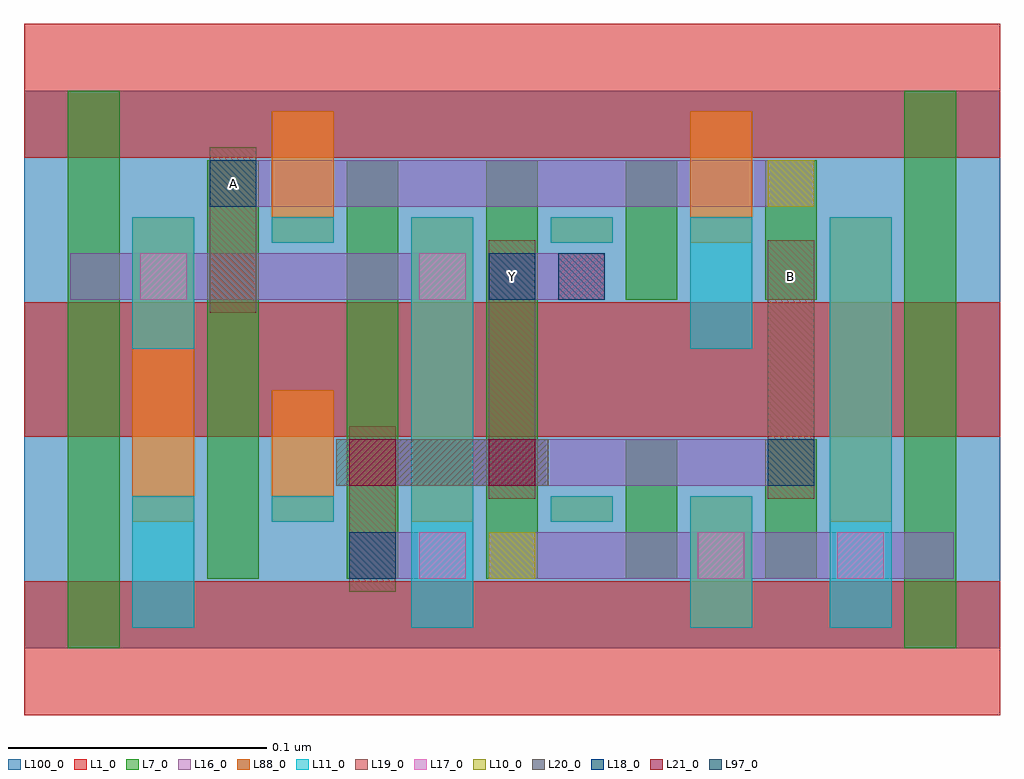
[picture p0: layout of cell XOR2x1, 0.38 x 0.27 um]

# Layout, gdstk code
import gdstk
lib = gdstk.Library(unit=1e-6, precision=2.5e-10)
def R(c, l, rs):  # rectangles x0, y0, x1, y1
    for r in rs: c.add(gdstk.rectangle(r[:2], r[2:], *l))
def A(c, l, x, y, w, h, nx, ny, dx, dy):  # array of equal rectangles
    R(c, l, [(x+i*dx, y+j*dy, x+i*dx+w, y+j*dy+h) for i in range(nx) for j in range(ny)])
L1_0 = (1, 0)
L7_0 = (7, 0)
L10_0 = (10, 0)
L11_0 = (11, 0)
L16_0 = (16, 0)
L17_0 = (17, 0)
L18_0 = (18, 0)
L19_0 = (19, 0)
L20_0 = (20, 0)
L21_0 = (21, 0)
L88_0 = (88, 0)
L97_0 = (97, 0)
L100_0 = (100, 0)

xor2x1 = lib.new_cell('XOR2x1')
A(xor2x1, L1_0, 0, -0.026, 0.378, 0.052, 1, 3, 0, 0.108)
A(xor2x1, L7_0, 0.071, 0.027, 0.02, 0.081, 3, 2, 0.054, 0.081)
R(xor2x1, L7_0, [(0.017,0,0.037,0.108), (0.341,0,0.361,0.108), (0.233,0.027,0.253,0.081), (0.287,0.027,0.307,0.081), (0.017,0.108,0.037,0.216), (0.341,0.108,0.361,0.216), (0.233,0.135,0.253,0.189), (0.287,0.135,0.307,0.189)])
R(xor2x1, L10_0, [(0.18,0.027,0.198,0.045), (0.126,0.063,0.144,0.081), (0.288,0.063,0.306,0.081), (0.072,0.171,0.09,0.189), (0.288,0.171,0.306,0.189)])
R(xor2x1, L11_0, [(0.042,0.008,0.066,0.059), (0.15,0.008,0.174,0.108), (0.258,0.008,0.282,0.059), (0.312,0.008,0.336,0.108), (0.096,0.049,0.12,0.059), (0.204,0.049,0.228,0.059), (0.15,0.108,0.174,0.167), (0.312,0.108,0.336,0.167), (0.042,0.116,0.066,0.167), (0.258,0.116,0.282,0.167), (0.096,0.157,0.12,0.167), (0.204,0.157,0.228,0.167)])
R(xor2x1, L16_0, [(0.126,0.027,0.171,0.045), (0.18,0.027,0.36,0.045), (0.126,0.063,0.306,0.081), (0.018,0.135,0.171,0.153), (0.18,0.135,0.225,0.153), (0.072,0.171,0.306,0.189)])
R(xor2x1, L17_0, [(0.153,0.027,0.171,0.045), (0.261,0.027,0.279,0.045), (0.315,0.027,0.333,0.045), (0.045,0.135,0.063,0.153), (0.153,0.135,0.171,0.153), (0.207,0.135,0.225,0.153)])
R(xor2x1, L18_0, [(0.126,0.027,0.144,0.045), (0.288,0.063,0.306,0.081), (0.18,0.135,0.198,0.153), (0.072,0.171,0.09,0.189)])
R(xor2x1, L19_0, [(0.126,0.022,0.144,0.086), (0.18,0.058,0.198,0.158), (0.288,0.058,0.306,0.158), (0.072,0.13,0.09,0.194)])
R(xor2x1, L20_0, [(0.121,0.063,0.203,0.081)])
R(xor2x1, L21_0, [(0.126,0.063,0.144,0.081), (0.18,0.063,0.198,0.081)])
R(xor2x1, L88_0, [(0.258,0.008,0.282,0.059), (0.042,0.049,0.066,0.108), (0.096,0.049,0.12,0.1), (0.15,0.049,0.174,0.108), (0.204,0.049,0.228,0.059), (0.312,0.049,0.336,0.108), (0.042,0.108,0.066,0.167), (0.15,0.108,0.174,0.167), (0.312,0.108,0.336,0.167), (0.096,0.157,0.12,0.208), (0.204,0.157,0.228,0.167), (0.258,0.157,0.282,0.208)])
R(xor2x1, L97_0, [(0.207,0.135,0.225,0.153)])
R(xor2x1, L100_0, [(0,0,0.378,0.216)])
xor2x1.add(gdstk.Label('A', (0.081,0.18), layer=19, texttype=251))
xor2x1.add(gdstk.Label('B', (0.297,0.144), layer=19, texttype=251))
xor2x1.add(gdstk.Label('Y', (0.189,0.144), layer=19, texttype=251))

lib.write_gds('XOR2x1.gds')
